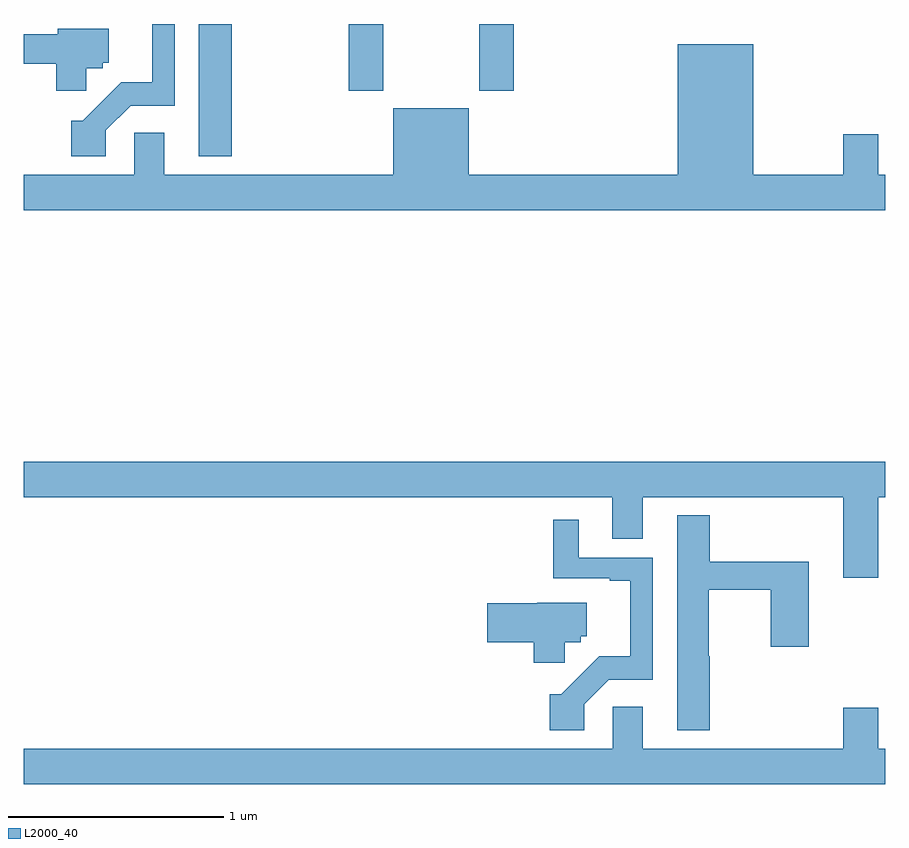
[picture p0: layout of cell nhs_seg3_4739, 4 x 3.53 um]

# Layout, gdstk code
import gdstk
lib = gdstk.Library(unit=1e-6, precision=1e-09)
def R(c, l, rs):  # rectangles x0, y0, x1, y1
    for r in rs: c.add(gdstk.rectangle(r[:2], r[2:], *l))
def P(c, l, *ps):  # polygons
    for p in ps: c.add(gdstk.Polygon(p, *l))
L2000_40 = (2000, 40)

nhs_seg3_4739 = lib.new_cell('nhs_seg3_4739')
R(nhs_seg3_4739, L2000_40, [(365.813,747.785,365.966,748.4), (366.509,748.089,366.669,748.4), (367.114,748.089,367.274,748.4)])
P(nhs_seg3_4739, L2000_40, [(365.382,747.906),(365.496,748.02),(365.701,748.02),(365.701,748.4),(365.597,748.4),(365.597,748.13),(365.453,748.13),(365.275,747.952),(365.222,747.952),(365.222,747.786),(365.382,747.786)],
  [(365.291,748.194),(365.367,748.194),(365.367,748.221),(365.395,748.221),(365.395,748.378),(365.159,748.378),(365.159,748.352),(365,748.352),(365,748.216),(365.152,748.216),(365.152,748.089),(365.291,748.089)],
  [(369,747.7),(368.968,747.7),(368.968,747.889),(368.804,747.889),(368.804,747.7),(368.386,747.7),(368.386,748.306),(368.036,748.306),(368.036,747.7),(367.066,747.7),(367.066,748.009),(366.716,748.009),(366.716,747.7),(365.653,747.7),(365.653,747.895),(365.514,747.895),(365.514,747.7),(365,747.7),(365,747.536),(369,747.536)],
  [(368.968,746.204),(369,746.204),(369,746.368),(365,746.368),(365,746.204),(367.733,746.204),(367.733,746.01),(367.873,746.01),(367.873,746.204),(368.804,746.204),(368.804,745.83),(368.968,745.83)],
  [(368.186,745.464),(368.181,745.464),(368.181,745.774),(368.467,745.774),(368.467,745.509),(368.645,745.509),(368.645,745.903),(368.186,745.903),(368.186,746.119),(368.033,746.119),(368.033,745.121),(368.186,745.121)],
  [(367.602,745.242),(367.716,745.356),(367.921,745.356),(367.921,745.923),(367.576,745.923),(367.576,746.098),(367.459,746.098),(367.459,745.827),(367.721,745.827),(367.721,745.815),(367.817,745.815),(367.817,745.466),(367.673,745.466),(367.495,745.288),(367.442,745.288),(367.442,745.122),(367.602,745.122)],
  [(367.512,745.53),(367.587,745.53),(367.587,745.557),(367.615,745.557),(367.615,745.714),(367.383,745.714),(367.383,745.712),(367.152,745.712),(367.152,745.529),(367.367,745.529),(367.367,745.436),(367.512,745.436)],
  [(369,745.036),(368.968,745.036),(368.968,745.225),(368.804,745.225),(368.804,745.036),(367.873,745.036),(367.873,745.231),(367.734,745.231),(367.734,745.036),(365,745.036),(365,744.872),(369,744.872)])

lib.write_gds('nhs_seg3_4739.gds')
